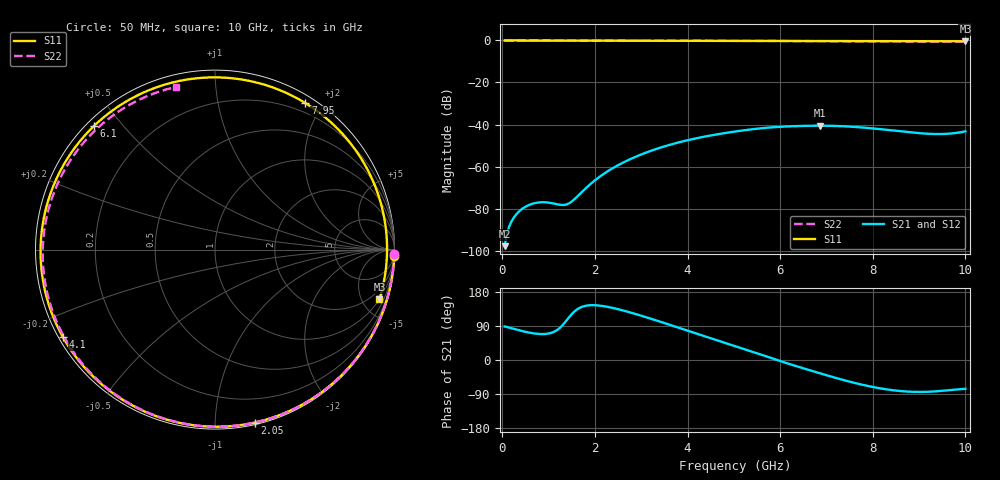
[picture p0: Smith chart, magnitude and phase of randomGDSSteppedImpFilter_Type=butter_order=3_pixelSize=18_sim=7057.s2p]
! freq	dB(S11)	phase(S11)	dB(S12)	phase(S12)
!  dB(S21)	phase(S21)	dB(S22)	phase(S22)
!S-par simulation data
#  GHz  S  DB  R 50
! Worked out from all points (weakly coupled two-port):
!   200 points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, 50 MHz to 10 GHz, reference 50 ohm
!   highest |S21| = -40.55 dB at 6.85 GHz (marker M1); lowest = -97.9 dB at 50 MHz (marker M2)
!   lowest |S11| = -0.4 dB at 10 GHz (marker M3), VSWR 45.25, Z = 50.7 - j331 ohm
!   |S11| at or under -10 dB: nowhere
!   |S22| runs from -0.6 to 0.0 dB; largest |S21 - S12| = 0
!   S11 on the Smith chart (normalised r, x): 50 MHz: 1, -59; 2.05 GHz: 0.01, -1.26; 4.1 GHz: 0.01, -0.27; 6.1 GHz: 0.02, +0.42; 7.95 GHz: 0.09, +1.79; 10 GHz: 1.01, -6.62
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0.05  -0.00 -2.0  -97.89 88.5  -97.89 88.5  -0.00 -1.4
0.45  -0.02 -17.3  -79.81 75.7  -79.81 75.7  -0.01 -12.7
0.65  -0.03 -24.9  -77.72 70.8  -77.72 70.8  -0.02 -18.2
0.85  -0.04 -32.5  -76.98 68.4  -76.98 68.4  -0.03 -23.8
1.35  -0.06 -51.3  -78.22 98.7  -78.22 98.7  -0.05 -37.5
1.5  -0.07 -56.9  -76.64 121.0  -76.64 121.0  -0.05 -41.6
1.75  -0.08 -66.1  -71.44 141.5  -71.44 141.5  -0.06 -48.3
2.05  -0.10 -77.1  -65.70 144.2  -65.70 144.2  -0.07 -56.2
2.7  -0.13 -100.4  -57.12 127.6  -57.12 127.6  -0.09 -73.0
3.4  -0.16 -125.3  -51.10 101.5  -51.10 101.5  -0.12 -90.5
4.1  -0.20 -150.2  -46.98 73.4  -46.98 73.4  -0.15 -107.5
4.6  -0.23 -168.2  -44.81 53.4  -44.81 53.4  -0.17 -119.3
5.05  -0.26 175.1  -43.25 35.6  -43.25 35.6  -0.20 -129.8
5.55  -0.29 156.1  -41.88 15.6  -41.88 15.6  -0.23 -141.4
6.1  -0.32 134.5  -40.96 -6.7  -40.96 -6.7  -0.27 -154.1
6.7  -0.34 110.1  -40.57 -29.3  -40.57 -29.3  -0.31 -168.3
6.85  -0.35 103.9  -40.55 -34.8  -40.55 -34.8  -0.33 -171.8
7.4  -0.36 81.0  -40.86 -54.0  -40.86 -54.0  -0.37 174.8
7.95  -0.36 58.3  -41.75 -70.0  -41.75 -70.0  -0.43 161.0
8.35  -0.36 42.2  -42.65 -78.4  -42.65 -78.4  -0.46 150.5
9.15  -0.36 11.9  -44.35 -84.0  -44.35 -84.0  -0.54 128.5
10  -0.38 -16.8  -43.26 -76.0  -43.26 -76.0  -0.61 103.4
